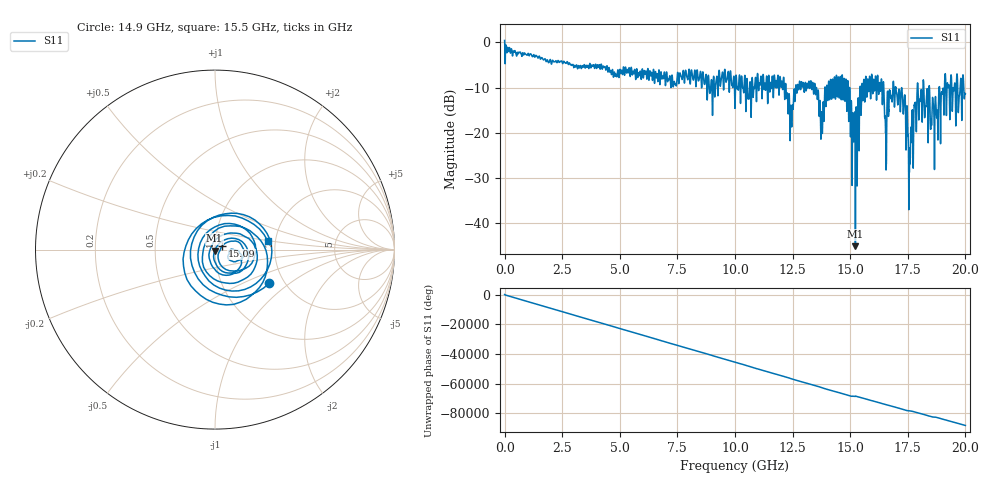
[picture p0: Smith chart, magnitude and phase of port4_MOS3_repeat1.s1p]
! MS46122B
! 2250307/22442219
! 7/23/2025 8:04:21 AM
! C:\USERS\SPARKY\DOCUMENTS\VNA_DATA\JULY23_2025\3K\PORT4_MOS3_REPEAT1.S1P
! CHANNEL.1
! TR.MEASUREMENT
! RAW.DATA
# GHZ S RI R 50.0
! FREQ.GHZ  S11RE  S11IM
!; PortSelection: Port_1
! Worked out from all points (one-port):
!   10001 points, 1 MHz to 20 GHz, reference 50 ohm
!   lowest |S11| = -45.0 dB at 15.23 GHz (marker M1), VSWR 1.01, Z = 49.8 - j0.505 ohm
!   |S11| at or under -10 dB: 12.21 GHz to 12.63 GHz (418.7 MHz wide, 3.37 % of centre); 14.98 GHz to 15.43 GHz (449.5 MHz wide, 2.96 % of centre); 16.98 GHz to 17.91 GHz (932.6 MHz wide, 5.35 % of centre) (the widest 3 of 87)
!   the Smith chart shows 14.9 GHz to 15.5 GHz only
!   S11 on the Smith chart (normalised r, x): 14.9 GHz: 1.67, -0.72; 15.09 GHz: 1.08, +0.04; 15.5 GHz: 1.81, +0.20
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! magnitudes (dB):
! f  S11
! 1 MHz  0.4
! 2.501 GHz  -4.4
! 5.001 GHz  -6.0
! 7.501 GHz  -7.0
! 10 GHz  -14.5
! 12.03 GHz  -8.6
! 12.5 GHz  -13.8
! 12.88 GHz  -8.8
! 13.45 GHz  -9.1
! 13.78 GHz  -18.3
! 14.15 GHz  -8.2
! 14.9 GHz  -9.0
! 15 GHz  -15.0
! 15.09 GHz  -27.2
! 15.23 GHz  -45.0
! 15.5 GHz  -10.5
! 16.27 GHz  -8.9
! 16.58 GHz  -20.3
! 16.79 GHz  -12.3
! 17.18 GHz  -14.8
! 17.42 GHz  -23.4
! 17.5 GHz  -19.9
! 17.64 GHz  -19.5
! 17.85 GHz  -16.5
! 18 GHz  -14.0
! 18.57 GHz  -12.7
! 19.19 GHz  -12.1
! 20 GHz  -11.4
